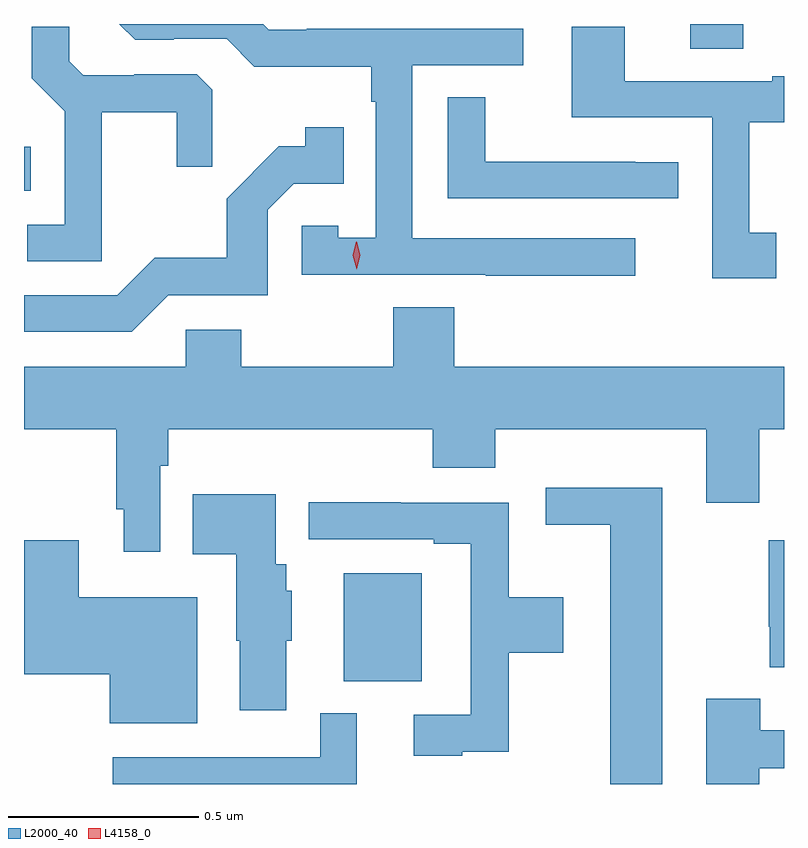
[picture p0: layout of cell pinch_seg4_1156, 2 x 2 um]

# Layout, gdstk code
import gdstk
lib = gdstk.Library(unit=1e-6, precision=1e-09)
def R(c, l, rs):  # rectangles x0, y0, x1, y1
    for r in rs: c.add(gdstk.rectangle(r[:2], r[2:], *l))
def P(c, l, *ps):  # polygons
    for p in ps: c.add(gdstk.Polygon(p, *l))
L2000_40 = (2000, 40)
L4158_0 = (4158, 0)

pinch_seg4_1156 = lib.new_cell('pinch_seg4_1156')
R(pinch_seg4_1156, L2000_40, [(425.939,789.497,426.145,789.781), (425.098,790.787,425.116,790.903), (426.851,791.161,426.991,791.226)])
P(pinch_seg4_1156, L2000_40, [(426.706,790.662),(426.12,790.662),(426.12,791.118),(426.412,791.118),(426.412,791.214),(425.842,791.214),(425.842,791.211),(425.742,791.211),(425.727,791.226),(425.349,791.226),(425.391,791.184),(425.492,791.184),(425.492,791.187),(425.631,791.187),(425.704,791.114),(426.012,791.114),(426.012,791.021),(426.024,791.021),(426.024,790.663),(425.925,790.663),(425.925,790.695),(425.829,790.695),(425.829,790.566),(426.313,790.566),(426.313,790.564),(426.706,790.564)],
  [(427.078,790.677),(427.006,790.677),(427.006,790.968),(427.098,790.968),(427.098,791.089),(427.067,791.089),(427.067,791.076),(426.679,791.076),(426.679,791.219),(426.539,791.219),(426.539,790.98),(426.909,790.98),(426.909,790.557),(427.078,790.557)],
  [(425.303,790.994),(425.5,790.994),(425.5,790.851),(425.594,790.851),(425.594,791.053),(425.553,791.094),(425.388,791.094),(425.388,791.091),(425.254,791.091),(425.217,791.128),(425.217,791.219),(425.119,791.219),(425.119,791.083),(425.205,790.997),(425.205,790.698),(425.106,790.698),(425.106,790.602),(425.303,790.602)],
  [(426.82,790.862),(426.707,790.862),(426.707,790.863),(426.312,790.863),(426.312,791.033),(426.213,791.033),(426.213,790.767),(426.82,790.767)],
  [(425.478,790.512),(425.739,790.512),(425.739,790.737),(425.808,790.806),(425.939,790.806),(425.939,790.954),(425.838,790.954),(425.838,790.904),(425.768,790.904),(425.631,790.766),(425.631,790.611),(425.442,790.611),(425.343,790.512),(425.098,790.512),(425.098,790.416),(425.382,790.416)],
  [(425.457,790.064),(425.477,790.064),(425.477,790.16),(426.173,790.16),(426.173,790.058),(426.338,790.058),(426.338,790.16),(426.893,790.16),(426.893,789.966),(427.033,789.966),(427.033,790.16),(427.098,790.16),(427.098,790.324),(426.23,790.324),(426.23,790.481),(426.07,790.481),(426.07,790.324),(425.67,790.324),(425.67,790.422),(425.523,790.422),(425.523,790.324),(425.098,790.324),(425.098,790.16),(425.341,790.16),(425.341,789.949),(425.361,789.949),(425.361,789.837),(425.457,789.837)],
  [(426.778,790.006),(426.471,790.006),(426.471,789.908),(426.641,789.908),(426.641,789.226),(426.778,789.226)],
  [(425.788,789.603),(425.803,789.603),(425.803,789.735),(425.788,789.735),(425.788,789.804),(425.761,789.804),(425.761,789.988),(425.542,789.988),(425.542,789.83),(425.657,789.83),(425.657,789.603),(425.666,789.603),(425.666,789.42),(425.788,789.42)],
  [(426.251,789.311),(426.374,789.311),(426.374,789.571),(426.517,789.571),(426.517,789.718),(426.374,789.718),(426.374,789.966),(426.089,789.966),(426.089,789.968),(425.847,789.968),(425.847,789.87),(426.176,789.87),(426.176,789.858),(426.273,789.858),(426.273,789.408),(426.123,789.408),(426.123,789.3),(426.251,789.3)],
  [(425.554,789.718),(425.242,789.718),(425.242,789.868),(425.098,789.868),(425.098,789.515),(425.324,789.515),(425.324,789.386),(425.554,789.386)],
  [(427.098,789.868),(427.058,789.868),(427.058,789.64),(427.06,789.64),(427.06,789.533),(427.098,789.533)],
  [(427.033,789.267),(427.098,789.267),(427.098,789.367),(427.036,789.367),(427.036,789.451),(426.893,789.451),(426.893,789.226),(427.033,789.226)],
  [(425.974,789.412),(425.877,789.412),(425.877,789.297),(425.331,789.297),(425.331,789.226),(425.974,789.226)])
P(pinch_seg4_1156, L4158_0, [(425.974,790.581),(425.974,790.581),(425.963,790.617),(425.972,790.653),(425.972,790.653),(425.973,790.653),(425.983,790.618),(425.974,790.581)])

lib.write_gds('pinch_seg4_1156.gds')
